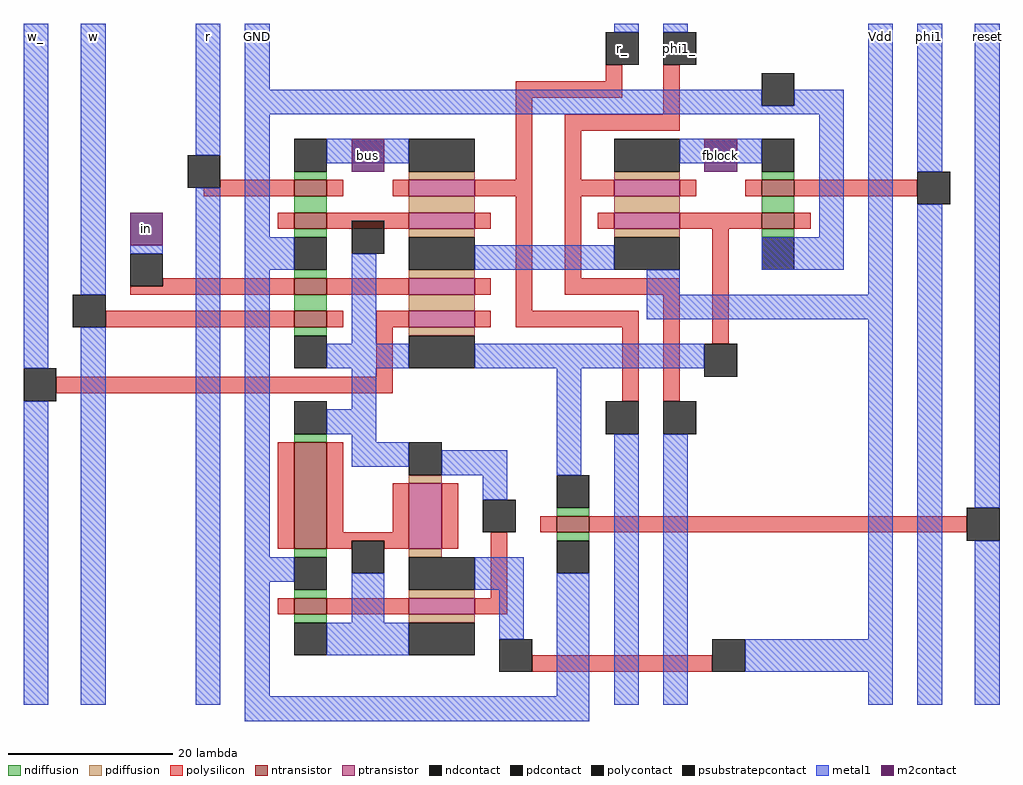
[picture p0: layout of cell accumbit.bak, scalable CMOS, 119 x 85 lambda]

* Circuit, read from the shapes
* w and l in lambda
.subckt accumbit.bak GND Vdd bus fblock in phi1 phi1_ r r_ reset w w_
M1 GND latch_1/in staticizer_0/inverter_0/out GND nfet w=4 l=2
M2 latch_1/in staticizer_0/inverter_0/out GND GND nfet w=4 l=13
M3 n1 w latch_1/in GND nfet w=4 l=2
M4 GND in n1 GND nfet w=4 l=2
M5 n2 latch_1/in GND GND nfet w=4 l=2
M6 bus r n2 GND nfet w=4 l=2
M7 latch_1/in reset GND GND nfet w=4 l=2
M8 n3 latch_1/in GND GND nfet w=4 l=2
M9 fblock phi1 n3 GND nfet w=4 l=2
M10 Vdd latch_1/in staticizer_0/inverter_0/out NWELL pfet w=8 l=2
M11 latch_1/in staticizer_0/inverter_0/out Vdd NWELL pfet w=4 l=8
M12 n4 w_ latch_1/in NWELL pfet w=8 l=2
M13 Vdd in n4 NWELL pfet w=8 l=2
M14 n5 latch_1/in Vdd NWELL pfet w=8 l=2
M15 bus r_ n5 NWELL pfet w=8 l=2
M16 n6 latch_1/in Vdd NWELL pfet w=8 l=2
M17 fblock phi1_ n6 NWELL pfet w=8 l=2
.ends

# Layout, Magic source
magic
tech scmos
<< polysilicon >>
rect 32 38 34 40
rect 21 36 34 38
rect 21 26 23 36
rect 39 34 41 40
rect -15 25 -8 26
rect -17 24 -8 25
rect 18 24 23 26
rect -22 13 -8 14
rect -26 12 -8 13
rect 21 10 23 24
rect 27 32 41 34
rect 27 26 29 32
rect 27 24 31 26
rect 57 24 70 26
rect 27 14 29 24
rect 27 12 41 14
rect -29 8 -8 10
rect 4 2 6 10
rect 21 8 36 10
rect -35 0 6 2
rect 34 -1 36 8
rect 39 -1 41 12
rect 45 6 47 22
rect 24 -17 26 -15
rect 30 -17 76 -15
rect 23 -34 45 -32
<< ndiffusion >>
rect 26 -15 30 -14
rect 26 -18 30 -17
<< metal1 >>
rect -39 3 -36 45
rect -32 12 -29 45
rect -18 29 -15 45
rect -26 17 -22 18
rect -39 -38 -36 -1
rect -32 -38 -29 8
rect -18 -38 -15 25
rect -12 37 -9 45
rect 33 44 36 45
rect 39 44 42 45
rect -12 35 51 37
rect 55 35 61 37
rect -12 34 61 35
rect -12 19 -9 34
rect -12 15 -6 19
rect 58 19 61 34
rect -12 -20 -9 15
rect 1 -4 4 17
rect 16 15 33 18
rect 51 15 61 19
rect 37 12 41 15
rect 64 12 67 45
rect 37 9 67 12
rect 16 3 44 6
rect 26 -10 29 3
rect -12 -23 -6 -20
rect -12 -37 -9 -23
rect 19 -30 22 -24
rect 26 -37 30 -22
rect -12 -40 30 -37
rect 33 -38 36 -5
rect 39 -38 42 -5
rect 64 -30 67 9
rect 49 -34 67 -30
rect 64 -38 67 -34
rect 70 27 73 45
rect 70 -38 73 23
rect 77 -14 80 45
rect 77 -38 80 -18
<< ntransistor >>
rect 26 -17 30 -15
<< polycontact >>
rect 32 40 36 44
rect 39 40 43 44
rect -19 25 -15 29
rect 1 17 5 21
rect -26 13 -22 17
rect -33 8 -29 12
rect 70 23 74 27
rect -39 -1 -35 3
rect 32 -5 36 -1
rect 44 2 48 6
rect 39 -5 43 -1
rect 76 -18 80 -14
rect 19 -34 23 -30
rect 45 -34 49 -30
<< ndcontact >>
rect 26 -14 30 -10
rect 26 -22 30 -18
<< m2contact >>
rect -26 18 -22 22
rect 1 27 5 31
rect 44 27 48 31
<< psubstratepcontact >>
rect 51 35 55 39
use latch  latch_1
transform 0 1 -6 1 0 21
box -6 -2 10 24
use latch  latch_2
transform 0 -1 55 1 0 21
box -6 -2 10 24
use latch  latch_0
transform 0 1 -6 -1 0 13
box -6 -2 10 24
use staticizer  staticizer_0
transform 0 1 -10 -1 0 -20
box -19 2 12 32
<< labels >>
rlabel m2contact -26 18 -22 22 1 in
rlabel m2contact 1 27 5 31 1 bus
rlabel m2contact 44 27 48 31 1 fblock
rlabel metal1 77 42 80 45 6 reset
rlabel metal1 70 42 73 45 5 phi1
rlabel metal1 64 42 67 45 5 Vdd
rlabel polycontact 39 40 43 44 5 phi1_
rlabel polycontact 32 40 36 44 5 r_
rlabel metal1 -12 42 -9 45 5 GND
rlabel metal1 -18 42 -15 45 5 r
rlabel metal1 -32 42 -29 45 5 w
rlabel metal1 -39 42 -36 45 4 w_
<< end >>

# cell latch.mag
magic
tech scmos
<< polysilicon >>
rect -1 22 1 24
rect 3 22 5 24
rect -1 4 1 14
rect 3 12 5 14
rect 3 4 5 6
rect -1 -2 1 0
rect 3 -2 5 0
<< ndiffusion >>
rect -2 0 -1 4
rect 1 0 3 4
rect 5 0 6 4
<< pdiffusion >>
rect -2 14 -1 22
rect 1 14 3 22
rect 5 14 6 22
<< metal1 >>
rect 7 4 10 14
<< ntransistor >>
rect -1 0 1 4
rect 3 0 5 4
<< ptransistor >>
rect -1 14 1 22
rect 3 14 5 22
<< ndcontact >>
rect -6 0 -2 4
rect 6 0 10 4
<< pdcontact >>
rect -6 14 -2 22
rect 6 14 10 22
<< labels >>
rlabel polysilicon 3 22 5 24 5 latch_
rlabel polysilicon 3 -2 5 0 1 latch
rlabel pdcontact -6 14 -2 22 3 Vdd
rlabel ndcontact -6 0 -2 4 2 GND
rlabel polysilicon -1 8 1 10 1 in
rlabel metal1 7 8 10 10 7 out
<< end >>

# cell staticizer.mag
magic
tech scmos
<< polysilicon >>
rect -3 28 7 30
rect -9 22 -1 24
rect -9 16 -1 18
rect -3 15 -1 16
rect -3 11 -2 15
rect -3 10 -1 11
rect -14 8 -1 10
rect -14 2 -1 4
<< ndiffusion >>
rect -15 4 -14 8
rect -1 4 0 8
<< pdiffusion >>
rect -10 18 -9 22
rect -1 18 0 22
<< metal1 >>
rect -13 27 -7 30
rect -13 22 -10 27
rect 0 26 4 32
rect -14 14 -11 18
rect -18 11 -11 14
rect 2 11 12 15
rect -18 8 -15 11
<< ntransistor >>
rect -14 4 -1 8
<< ptransistor >>
rect -9 18 -1 22
<< polycontact >>
rect -7 27 -3 31
rect -2 11 2 15
<< ndcontact >>
rect -19 4 -15 8
rect 0 4 4 8
<< pdcontact >>
rect -14 18 -10 22
rect 0 18 4 26
use inverter  inverter_0
transform 1 0 5 0 1 -3
box -5 5 7 31
<< labels >>
rlabel metal1 0 28 4 32 5 Vdd
rlabel ndcontact 0 4 4 8 1 GND
rlabel polycontact -7 27 -3 31 5 in
<< end >>

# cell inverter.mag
magic
tech scmos
<< polysilicon >>
rect 0 29 2 31
rect 0 11 2 21
rect 0 5 2 7
<< ndiffusion >>
rect -1 7 0 11
rect 2 7 3 11
<< pdiffusion >>
rect -1 21 0 29
rect 2 21 3 29
<< metal1 >>
rect 3 11 7 21
<< ntransistor >>
rect 0 7 2 11
<< ptransistor >>
rect 0 21 2 29
<< ndcontact >>
rect -5 7 -1 11
rect 3 7 7 11
<< pdcontact >>
rect -5 21 -1 29
rect 3 21 7 29
<< labels >>
rlabel metal1 5 16 5 16 7 out
<< end >>
